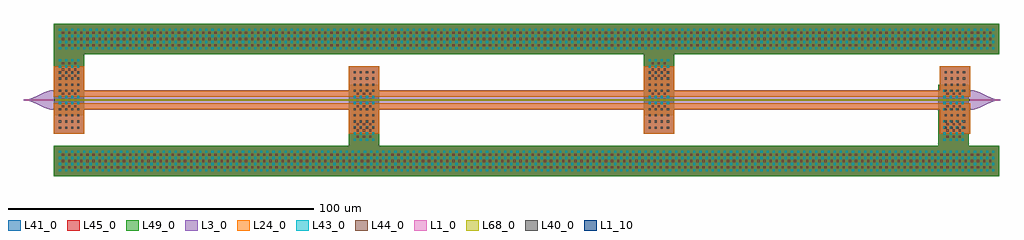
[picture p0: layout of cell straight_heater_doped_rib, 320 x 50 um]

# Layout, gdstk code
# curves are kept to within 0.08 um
from math import pi, radians
import gdstk
lib = gdstk.Library(unit=1e-6, precision=1e-09)
def R(c, l, rs):  # rectangles x0, y0, x1, y1
    for r in rs: c.add(gdstk.rectangle(r[:2], r[2:], *l))
def P(c, l, *ps):  # polygons
    for p in ps: c.add(gdstk.Polygon(p, *l))
L1_0 = (1, 0)
L1_10 = (1, 10)
L3_0 = (3, 0)
L24_0 = (24, 0)
L40_0 = (40, 0)
L41_0 = (41, 0)
L43_0 = (43, 0)
L44_0 = (44, 0)
L45_0 = (45, 0)
L49_0 = (49, 0)
L68_0 = (68, 0)

straight_1f4818bb = lib.new_cell('straight_1f4818bb')
R(straight_1f4818bb, L1_0, [(0,-0.25,300,0.25)])
R(straight_1f4818bb, L3_0, [(0,-3.25,300,3.25)])
R(straight_1f4818bb, L24_0, [(0,-3.05,300,-1.05), (0,1.05,300,3.05)])
R(straight_1f4818bb, L68_0, [(0,-0.25,300,0.25)])
straight_1f4818bb.add(gdstk.FlexPath([(0.001,0),(-0.001,0)], 0.5, ends="flush", simple_path=True, layer=1, datatype=10))  # L1_10
straight_1f4818bb.add(gdstk.FlexPath([(299.999,0),(300.001,0)], 0.5, ends="flush", simple_path=True, layer=1, datatype=10))  # L1_10
straight_1f4818bb.add(gdstk.Label('o1', (0,0), layer=1, texttype=10))
straight_1f4818bb.add(gdstk.Label('o2', (300,0), layer=1, texttype=10))

extrude_4bb234d5 = lib.new_cell('extrude_4bb234d5')
R(extrude_4bb234d5, L1_0, [(0,-0.25,5.051,0.25), (5.051,-0.25,10,0.25)])
P(extrude_4bb234d5, L3_0, [(5.051,1.7),(2.525,0.57),(1.212,0.213),(0,0.1),(0,-0.1),(1.111,-0.195),(2.222,-0.468),(5.051,-1.7)],
  [(10,3.25),(8.889,3.155),(7.778,2.882),(5.051,1.7),(5.051,-1.7),(7.778,-2.882),(8.889,-3.155),(10,-3.25)])

taper_cross_section_1e71 = lib.new_cell('taper_cross_section_1e712ab4')
taper_cross_section_1e71.add(gdstk.Reference(extrude_4bb234d5, (0,0)))

compass_0b11d190 = lib.new_cell('compass_0b11d190')
R(compass_0b11d190, L41_0, [(-5,-5,5,5)])

compass_5a413983 = lib.new_cell('compass_5a413983')
R(compass_5a413983, L45_0, [(-5,-5,5,5)])

compass_ecc862d4 = lib.new_cell('compass_ecc862d4')
R(compass_ecc862d4, L49_0, [(-5,-5,5,5)])

via_enclosure2_layervia1 = lib.new_cell('via_enclosure2_layerVIA1')
R(via_enclosure2_layervia1, L44_0, [(-0.35,-0.35,0.35,0.35)])

via_layervia2 = lib.new_cell('via_layerVIA2')
R(via_layervia2, L43_0, [(-0.35,-0.35,0.35,0.35)])

via_stack_0ff76abf = lib.new_cell('via_stack_0ff76abf')
via_stack_0ff76abf.add(gdstk.Reference(compass_0b11d190, (0,0)))
via_stack_0ff76abf.add(gdstk.Reference(compass_5a413983, (0,0)))
via_stack_0ff76abf.add(gdstk.Reference(compass_ecc862d4, (0,0)))
r = gdstk.Reference(via_enclosure2_layervia1, (-2,-2)); r.repetition = gdstk.Repetition(3, 3, v1=(2,0), v2=(0,2)); via_stack_0ff76abf.add(r)
r = gdstk.Reference(via_layervia2, (-3,-3)); r.repetition = gdstk.Repetition(4, 4, v1=(2,0), v2=(0,2)); via_stack_0ff76abf.add(r)

compass_5860220b = lib.new_cell('compass_5860220b')
R(compass_5860220b, L3_0, [(-5,-5,5,5)])

compass_74d08cd5 = lib.new_cell('compass_74d08cd5')
R(compass_74d08cd5, L24_0, [(-5,-5,5,5)])

compass_b9cdef90 = lib.new_cell('compass_b9cdef90')
R(compass_b9cdef90, L41_0, [(-5,-5,5,5)])

via = lib.new_cell('via')
R(via, L40_0, [(-0.35,-0.35,0.35,0.35)])

via_stack_0d455ba8 = lib.new_cell('via_stack_0d455ba8')
via_stack_0d455ba8.add(gdstk.Reference(compass_5860220b, (0,0)))
via_stack_0d455ba8.add(gdstk.Reference(compass_74d08cd5, (0,0)))
via_stack_0d455ba8.add(gdstk.Reference(compass_b9cdef90, (0,0)))
r = gdstk.Reference(via, (-3,-3)); r.repetition = gdstk.Repetition(4, 4, v1=(2,0), v2=(0,2)); via_stack_0d455ba8.add(r)

compass_c514e978 = lib.new_cell('compass_c514e978')
R(compass_c514e978, L41_0, [(-155,-5,155,5)])

compass_bc9b865b = lib.new_cell('compass_bc9b865b')
R(compass_bc9b865b, L45_0, [(-155,-5,155,5)])

compass_cdd8d5ef = lib.new_cell('compass_cdd8d5ef')
R(compass_cdd8d5ef, L49_0, [(-155,-5,155,5)])

via_stack_d211d959 = lib.new_cell('via_stack_d211d959')
via_stack_d211d959.add(gdstk.Reference(compass_c514e978, (0,0)))
via_stack_d211d959.add(gdstk.Reference(compass_bc9b865b, (0,0)))
via_stack_d211d959.add(gdstk.Reference(compass_cdd8d5ef, (0,0)))
r = gdstk.Reference(via_enclosure2_layervia1, (-152,-2)); r.repetition = gdstk.Repetition(153, 3, v1=(2,0), v2=(0,2)); via_stack_d211d959.add(r)
r = gdstk.Reference(via_layervia2, (-153,-3)); r.repetition = gdstk.Repetition(154, 4, v1=(2,0), v2=(0,2)); via_stack_d211d959.add(r)

straight_heater_doped_ri = lib.new_cell('straight_heater_doped_rib')
straight_heater_doped_ri.add(gdstk.Reference(straight_1f4818bb, (0,0)))
straight_heater_doped_ri.add(gdstk.Reference(taper_cross_section_1e71, (-10,0)))
straight_heater_doped_ri.add(gdstk.Reference(taper_cross_section_1e71, (310,0), rotation=pi, x_reflection=True))
straight_heater_doped_ri.add(gdstk.Reference(via_stack_0ff76abf, (4.8,0)))
straight_heater_doped_ri.add(gdstk.Reference(via_stack_0ff76abf, (4.8,10)))
straight_heater_doped_ri.add(gdstk.Reference(via_stack_0d455ba8, (4.8,6.05)))
straight_heater_doped_ri.add(gdstk.Reference(via_stack_0d455ba8, (4.8,-6.05)))
straight_heater_doped_ri.add(gdstk.Reference(via_stack_0ff76abf, (101.467,0)))
straight_heater_doped_ri.add(gdstk.Reference(via_stack_0ff76abf, (101.467,-10)))
straight_heater_doped_ri.add(gdstk.Reference(via_stack_0d455ba8, (101.467,6.05)))
straight_heater_doped_ri.add(gdstk.Reference(via_stack_0d455ba8, (101.467,-6.05)))
straight_heater_doped_ri.add(gdstk.Reference(via_stack_0ff76abf, (198.134,0)))
straight_heater_doped_ri.add(gdstk.Reference(via_stack_0ff76abf, (198.134,10)))
straight_heater_doped_ri.add(gdstk.Reference(via_stack_0d455ba8, (198.134,6.05)))
straight_heater_doped_ri.add(gdstk.Reference(via_stack_0d455ba8, (198.134,-6.05)))
straight_heater_doped_ri.add(gdstk.Reference(via_stack_0ff76abf, (294.801,0)))
straight_heater_doped_ri.add(gdstk.Reference(via_stack_0ff76abf, (294.801,-10)))
straight_heater_doped_ri.add(gdstk.Reference(via_stack_0d455ba8, (295.201,6.05)))
straight_heater_doped_ri.add(gdstk.Reference(via_stack_0d455ba8, (295.201,-6.05)))
straight_heater_doped_ri.add(gdstk.Reference(via_stack_d211d959, (154.8,20)))
straight_heater_doped_ri.add(gdstk.Reference(via_stack_d211d959, (154.8,-20)))

lib.write_gds('straight_heater_doped_rib.gds')
